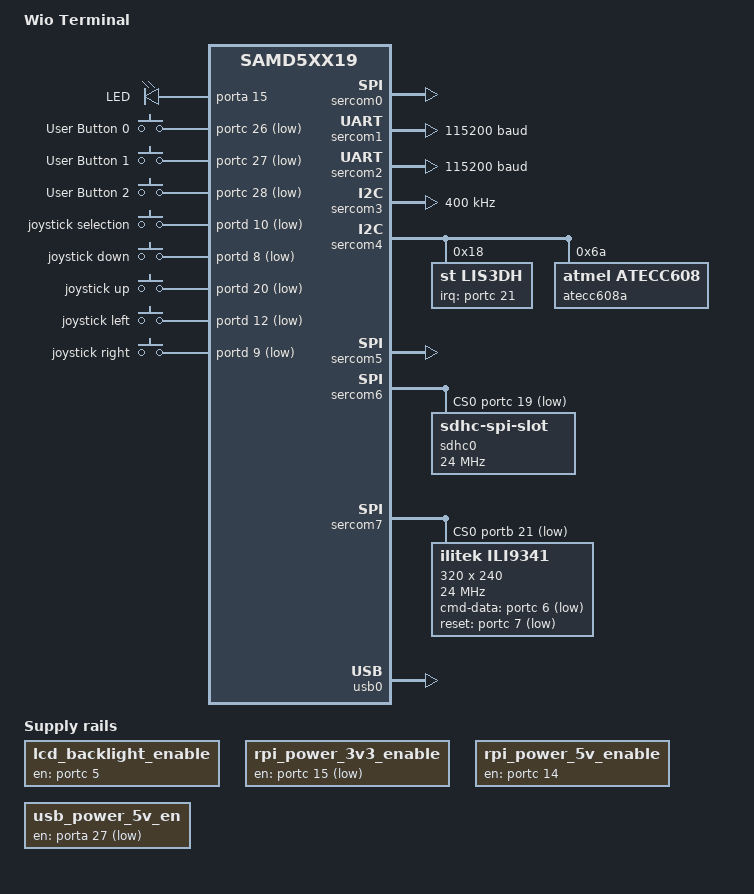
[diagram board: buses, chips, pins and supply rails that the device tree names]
/*
 * Copyright (c) 2023 Joel Guittet
 * SPDX-License-Identifier: Apache-2.0
 */

/dts-v1/;
#include <atmel/samd5xx19.dtsi>
#include "wio_terminal-pinctrl.dtsi"
#include "grove_connectors.dtsi"
#include "raspberrypi_40pins_connector.dtsi"
#include <zephyr/dt-bindings/display/ili9xxx.h>
#include <zephyr/dt-bindings/input/input-event-codes.h>

/ {
	model = "Wio Terminal";
	compatible = "seeed,wio-terminal";

	chosen {
		zephyr,sram = &sram0;
		zephyr,flash = &flash0;
		zephyr,console = &wio_terminal_console;
		zephyr,shell-uart = &wio_terminal_console;
		zephyr,code-partition = &code_partition;
		zephyr,display = &ili9341;
	};

	/* These aliases are provided for compatibility with samples */
	aliases {
		led0 = &led0;
		sw0 = &user_button_0;
		sw1 = &user_button_1;
		sw2 = &user_button_2;
		i2c0 = &sercom4;
		i2c1 = &sercom3;
		spi0 = &sercom5;
		uart0 = &sercom2;
		accel0 = &lis3dh;
		sdhc0 = &sdhc0;
	};

	/* LEDs */
	leds {
		compatible = "gpio-leds";
		led0: led_0 {
			label = "LED";
			gpios = <&porta 15 GPIO_ACTIVE_HIGH>;
		};
	};

	/* Buttons */
	buttons: buttons {
		compatible = "gpio-keys";
		user_button_0: button_0 {
			label = "User Button 0";
			gpios = <&portc 26 GPIO_ACTIVE_LOW>;
			zephyr,code = <INPUT_KEY_0>;
		};
		user_button_1: button_1 {
			label = "User Button 1";
			gpios = <&portc 27 GPIO_ACTIVE_LOW>;
			zephyr,code = <INPUT_KEY_1>;
		};
		user_button_2: button_2 {
			label = "User Button 2";
			gpios = <&portc 28 GPIO_ACTIVE_LOW>;
			zephyr,code = <INPUT_KEY_2>;
		};
	};

	/* Joystick */
	joystick: joystick {
		compatible = "gpio-keys";
		polling-mode;
		debounce-interval-ms = <100>;
		joy_sel: joystick_selection {
			label = "joystick selection";
			gpios = <&portd 10 GPIO_ACTIVE_LOW>;
			zephyr,code = <INPUT_KEY_ENTER>;
		};
		joy_down: joystick_down {
			label = "joystick down";
			gpios = <&portd 8 GPIO_ACTIVE_LOW>;
			zephyr,code = <INPUT_KEY_DOWN>;
		};
		joy_up: joystick_up {
			label = "joystick up";
			gpios = <&portd 20 GPIO_ACTIVE_LOW>;
			zephyr,code = <INPUT_KEY_UP>;
		};
		joy_left: joystick_left {
			label = "joystick left";
			gpios = <&portd 12 GPIO_ACTIVE_LOW>;
			zephyr,code = <INPUT_KEY_LEFT>;
		};
		joy_right: joystick_right {
			label = "joystick right";
			gpios = <&portd 9 GPIO_ACTIVE_LOW>;
			zephyr,code = <INPUT_KEY_RIGHT>;
		};
	};

	/* Regulators */
	lcd_backlight_en {
		compatible = "regulator-fixed";
		regulator-name = "lcd_backlight_enable";
		enable-gpios = <&portc 5 GPIO_ACTIVE_HIGH>;
		regulator-boot-on;
	};
	rpi_power_3v3_en {
		compatible = "regulator-fixed";
		regulator-name = "rpi_power_3v3_enable";
		enable-gpios = <&portc 15 GPIO_ACTIVE_LOW>;
		regulator-boot-on;
	};
	rpi_power_5v_en {
		compatible = "regulator-fixed";
		regulator-name = "rpi_power_5v_enable";
		enable-gpios = <&portc 14 GPIO_ACTIVE_HIGH>;
		regulator-boot-on;
	};
	usb_power_5v_en {
		compatible = "regulator-fixed";
		regulator-name = "usb_power_5v_en";
		enable-gpios = <&porta 27 GPIO_ACTIVE_LOW>;
	};
};

&cpu0 {
	clock-frequency = <120000000>;
};

&dmac {
	status = "okay";
};

&flash0 {
	partitions {
		compatible = "fixed-partitions";
		#address-cells = <1>;
		#size-cells = <1>;

		boot_partition: partition@0 {
			label = "uf2";
			reg = <0x00000000 DT_SIZE_K(16)>;
			read-only;
		};

		code_partition: partition@4000 {
			label = "code";
			reg = <0x4000 DT_SIZE_K(512-16)>;
			read-only;
		};
	};
};

/* RTL8720D (Wifi/BLE) */
&sercom0 {
	status = "okay";
	compatible = "atmel,sam0-spi";
	#address-cells = <1>;
	#size-cells = <0>;
	dipo = <2>;
	dopo = <0>;
	pinctrl-0 = <&sercom0_spi_default>;
	pinctrl-names = "default";
	cs-gpios = <&portc 25 GPIO_ACTIVE_LOW>;
};

/* RTL8720D (Wifi/BLE) */
&sercom1 {
	status = "okay";
	compatible = "atmel,sam0-uart";
	current-speed = <115200>;
	rxpo = <1>;
	txpo = <0>;
	pinctrl-0 = <&sercom1_uart_default>;
	pinctrl-names = "default";
};

/* UART, Raspberry Pi connector */
&sercom2 {
	status = "okay";
	compatible = "atmel,sam0-uart";
	current-speed = <115200>;
	rxpo = <1>;
	txpo = <0>;
	pinctrl-0 = <&sercom2_uart_default>;
	pinctrl-names = "default";
};

/* I2C1, Raspberry Pi and Groove connectors */
&sercom3 {
	status = "okay";
	compatible = "atmel,sam0-i2c";
	clock-frequency = <I2C_BITRATE_FAST>;
	#address-cells = <1>;
	#size-cells = <0>;
	pinctrl-0 = <&sercom3_i2c_default>;
	pinctrl-names = "default";
};

/* I2C0, LIS3DH, ATECC608, Raspberry Pi connector */
&sercom4 {
	status = "okay";
	compatible = "atmel,sam0-i2c";
	clock-frequency = <I2C_BITRATE_HIGH>;
	#address-cells = <1>;
	#size-cells = <0>;
	pinctrl-0 = <&sercom4_i2c_default>;
	pinctrl-names = "default";

	/* LIS3DH */
	lis3dh: lis3dh@18 {
		compatible = "st,lis3dh", "st,lis2dh";
		status = "okay";
		reg = <0x18>;
		irq-gpios = <&portc 21 GPIO_ACTIVE_HIGH>;
	};

	/* ATECC608A */
	atecc608a@6a {
		compatible = "atmel,atecc608";
		reg = <0x6a>;
	};
};

/* SPI, Raspberry Pi connector */
&sercom5 {
	status = "okay";
	compatible = "atmel,sam0-spi";
	#address-cells = <1>;
	#size-cells = <0>;
	dipo = <2>;
	dopo = <0>;
	pinctrl-0 = <&sercom5_spi_default>;
	pinctrl-names = "default";
	cs-gpios = <&portb 1 GPIO_ACTIVE_LOW>;
};

/* microSD Card */
&sercom6 {
	status = "okay";
	compatible = "atmel,sam0-spi";
	#address-cells = <1>;
	#size-cells = <0>;
	dipo = <2>;
	dopo = <0>;
	pinctrl-0 = <&sercom6_spi_default>;
	pinctrl-names = "default";
	cs-gpios = <&portc 19 GPIO_ACTIVE_LOW>;

	/* microSD Card */
	sdhc0: sdhc@0 {
		compatible = "zephyr,sdhc-spi-slot";
		reg = <0>;
		spi-max-frequency = <24000000>;
		mmc {
			compatible = "zephyr,sdmmc-disk";
		};
	};
};

/* LCD */
&sercom7 {
	status = "okay";
	compatible = "atmel,sam0-spi";
	#address-cells = <1>;
	#size-cells = <0>;
	dipo = <2>;
	dopo = <3>;
	pinctrl-0 = <&sercom7_spi_default>;
	pinctrl-names = "default";
	cs-gpios = <&portb 21 GPIO_ACTIVE_LOW>;

	/* LCD */
	ili9341: ili9341@0 {
		compatible = "ilitek,ili9341";
		spi-max-frequency = <24000000>;
		reg = <0>;
		cmd-data-gpios = <&portc 6 GPIO_ACTIVE_LOW>;
		reset-gpios = <&portc 7 GPIO_ACTIVE_LOW>;
		pixel-format = <ILI9XXX_PIXEL_FORMAT_RGB565>;
		rotation = <270>;
		width = <320>;
		height = <240>;
	};
};

/* USB */
zephyr_udc0: &usb0 {
	status = "okay";
	pinctrl-0 = <&usb_dc_default>;
	pinctrl-names = "default";

	wio_terminal_console: wio_terminal_console {
		compatible = "zephyr,cdc-acm-uart";
	};
};
